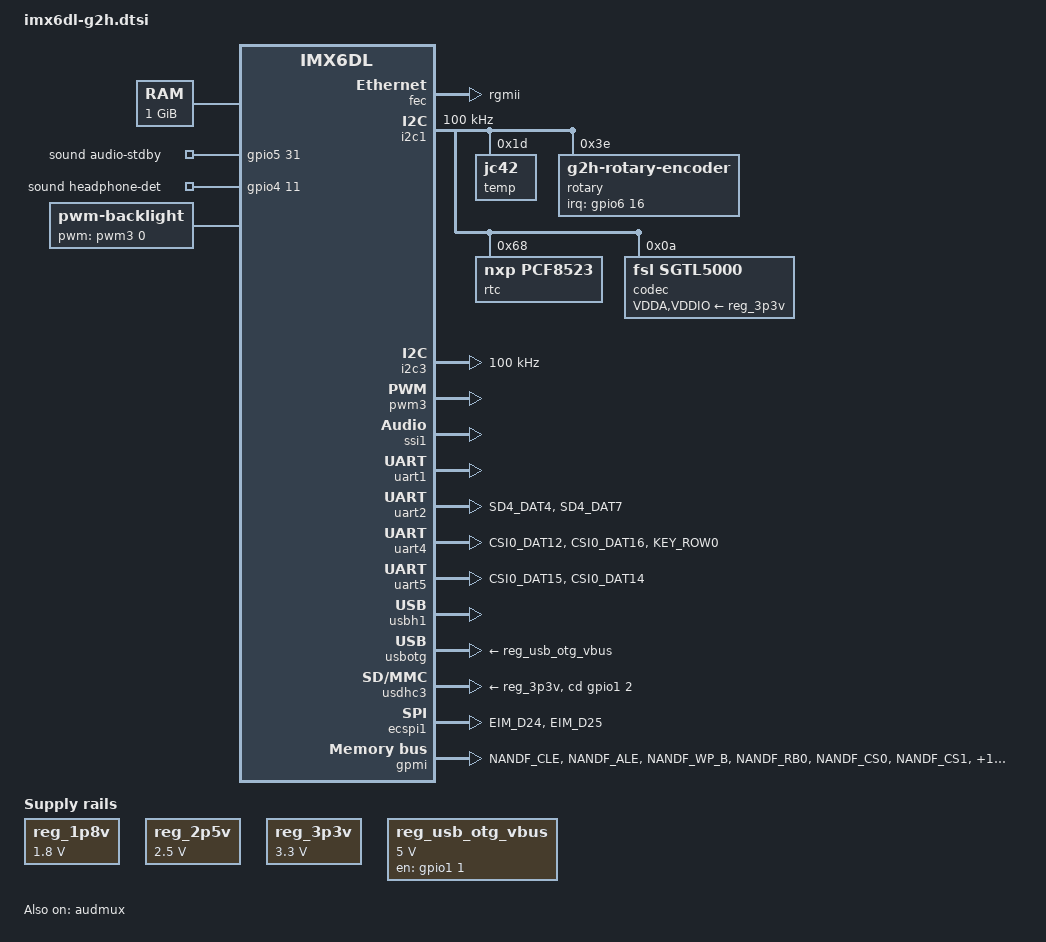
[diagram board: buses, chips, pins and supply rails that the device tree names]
/*
 * Copyright 2014 John Weber, Avnet Electronics Marketing
 * Copyright 2013 Boundary Devices
 * Copyright 2012 Freescale Semiconductor, Inc.
 * Copyright 2011 Linaro Ltd.
 *
 * The code contained herein is licensed under the GNU General Public
 * License. You may obtain a copy of the GNU General Public License
 * Version 2 or later at the following locations:
 *
 * http://www.opensource.org/licenses/gpl-license.html
 * http://www.gnu.org/copyleft/gpl.html
 */

/ {

	memory {
		reg = <0x10000000 0x40000000>;
	};

	regulators {
		compatible = "simple-bus";

		reg_1p8v: 1p8v {
			compatible = "regulator-fixed";
			regulator-name = "1P8V";
			regulator-min-microvolt = <1800000>;
			regulator-max-microvolt = <1800000>;
			regulator-always-on;
		};

		reg_2p5v: 2p5v {
			compatible = "regulator-fixed";
			regulator-name = "2P5V";
			regulator-min-microvolt = <2500000>;
			regulator-max-microvolt = <2500000>;
			regulator-always-on;
		};

		reg_3p3v: 3p3v {
			compatible = "regulator-fixed";
			regulator-name = "3P3V";
			regulator-min-microvolt = <3300000>;
			regulator-max-microvolt = <3300000>;
			regulator-always-on;
		};

		reg_usb_otg_vbus: usb_otg_vbus {
			compatible = "regulator-fixed";
			regulator-name = "usb_otg_vbus";
			regulator-min-microvolt = <5000000>;
			regulator-max-microvolt = <5000000>;
			gpio = <&gpio1 1 GPIO_ACTIVE_LOW>;
			enable-active-high;
		};
	};	

    sound: sound@0 {
		compatible = "fsl,imx6-hawthorne-sgtl5000", 
                             "fsl,imx-audio-sgtl5000";
		model = "imx6-hawthorne-sgtl5000";
		ssi-controller = <&ssi1>;
		audio-codec = <&codec>;
		audio-routing =
			"Headphone Jack", "HP_OUT";
		mux-int-port = <1>;
		mux-ext-port = <3>;
        audio-stdby-gpio = <&gpio5 31 0>;
        headphone-det-gpio = <&gpio4 11 0>;
	};

	backlight {
		compatible = "pwm-backlight";
		pwms = <&pwm3 0 5000000>;
		brightness-levels = <0 4 8 16 32 64 128 255>;
		default-brightness-level = <7>;
		status = "okay";
	};

    dipswitch: dipswitch@0 {
		compatible = "reach,dipswitch";
        dip-pin-1 = <&gpio1 20 1>;
        dip-pin-2 = <&gpio1 17 1>;
        dip-pin-3 = <&gpio1 19 1>;
        dip-pin-4 = <&gpio1 21 1>;
        status = "disabled";
    };

	v4l2_out {
		compatible = "fsl,mxc_v4l2_output";
		status = "okay";
	};

};


&audmux {
	pinctrl-names = "default";
	pinctrl-0 = <&pinctrl_audmux_2>;
	status = "okay";
};


&fec {
	pinctrl-names = "default";
	pinctrl-0 = <&pinctrl_enet_3>;
	phy-mode = "rgmii";
	status = "okay";
};

&i2c1 {
	clock-frequency = <100000>;
	pinctrl-names = "default";
	pinctrl-0 = <&pinctrl_i2c1_2>;
	status = "okay";

	temp@1d {
		compatible = "jc42";
		reg = <0x1D>;
		status = "okay";
	};

    /* rotary encoder connected to gpio expander */
    rotary: rotary@3e {
        compatible = "g2h-rotary-encoder";
        reg = <0x3E>;
		interrupt-parent = <&gpio6>;
       	interrupts = <16 0>;
        status = "okay";
    };

    pca953x@3e {
        compatible = "nxp,pca9534";
        #gpio-controller;
        reg = <0x3E>;
        status = "disabled";
    };

	evervision: touch@38 {
		compatible = "evervision";
		reg = <0x38>;
		interrupt-parent = <&gpio4>;
       	interrupts = <5 0>;
		status = "disabled";
        swap-x-y = <1>;
        max-x = <2047>;
        max-y = <2047>;
	};

	rtc: rtc@68 {
	    compatible = "nxp,pcf8523";
	    reg = <0x68>;
	    status = "okay";
	};

    codec: sgtl5000@0a {
		compatible = "fsl,sgtl5000";
		reg = <0x0a>;
		clocks = <&clks 201>;
		VDDA-supply = <&reg_3p3v>;
		VDDIO-supply = <&reg_3p3v>;
        status = "okay";
	};


};

&i2c3 {
	clock-frequency = <100000>;
	pinctrl-names = "default";
	pinctrl-0 = <&pinctrl_i2c3_3>;
	status = "okay";
};

/*
For reference here, the PAD_CTL bitfield definition from
Documentation/devicetree/bindings/pinctrl/fsl,imx6q-pinctrl.txt

CONFIG bits definition:
PAD_CTL_HYS                     (1 << 16)
PAD_CTL_PUS_100K_DOWN           (0 << 14)
PAD_CTL_PUS_47K_UP              (1 << 14)
PAD_CTL_PUS_100K_UP             (2 << 14)
PAD_CTL_PUS_22K_UP              (3 << 14)
PAD_CTL_PUE                     (1 << 13)
PAD_CTL_PKE                     (1 << 12)
PAD_CTL_ODE                     (1 << 11)
PAD_CTL_SPEED_LOW               (1 << 6)
PAD_CTL_SPEED_MED               (2 << 6)
PAD_CTL_SPEED_HIGH              (3 << 6)
PAD_CTL_DSE_DISABLE             (0 << 3)
PAD_CTL_DSE_240ohm              (1 << 3)
PAD_CTL_DSE_120ohm              (2 << 3)
PAD_CTL_DSE_80ohm               (3 << 3)
PAD_CTL_DSE_60ohm               (4 << 3)
PAD_CTL_DSE_48ohm               (5 << 3)
PAD_CTL_DSE_40ohm               (6 << 3)
PAD_CTL_DSE_34ohm               (7 << 3)
PAD_CTL_SRE_FAST                (1 << 0)
PAD_CTL_SRE_SLOW                (0 << 0)

Example, the Control Pad Setting

    0x0f0b0

corresponds to:

   0b1111 0000 1011 0000

which is:

   PAD_CTL_PUS_22K_UP | PAD_CTL_PUE | PAD_CTL_PKE |
   PAD_CTL_SPEED_MED | PAD_CTL_DSE_40ohm

For more information about this, refer to the IOMUXC section of the i.MX6
reference manual.

*/

&iomuxc {
	pinctrl-names = "default";
	pinctrl-0 = <&pinctrl_hog_1>;

	imx6sdl-hawthorne {
		pinctrl_hog_1: hoggrp-1 {
			fsl,pins = <
			    MX6QDL_PAD_GPIO_2__GPIO1_IO02       0x80000000	/* uSDHC3 CD */
				MX6QDL_PAD_GPIO_4__GPIO1_IO04       0x80000000	/* uSDHC2 CD */
                MX6QDL_PAD_GPIO_0__CCM_CLKO1        0x000b0     /* SGTL5000 */
			>;
		};

	};
	gpio {
		pinctrl_gpio: gpiogrp {
			fsl,pins = <
/*                MX6QDL_PAD_NANDF_CS3__GPIO6_IO16  0x070B0 */    /* PCA953x Int */
				MX6QDL_PAD_GPIO_19__GPIO4_IO05    0x80000000 /* PCAP Int */
				MX6QDL_PAD_SD3_RST__GPIO7_IO08    0x80000000 /* PCAP Reset */
				MX6QDL_PAD_EIM_D31__GPIO3_IO31	  0x80000000 /* USB Power Enable */
				MX6QDL_PAD_KEY_ROW4__GPIO4_IO15   0x80000000 /* OTG Power Enable */
                MX6QDL_PAD_GPIO_18__GPIO7_IO13    0x06000    /* PEN IRQ TSC2056 */
                MX6QDL_PAD_GPIO_19__GPIO4_IO05    0x80000000 /* PEN IRQ Evervision */  
                /* 4 position dip switch */
                MX6QDL_PAD_SD1_CLK__GPIO1_IO20    0x80000000    /* SW_OPT1 */ 
                MX6QDL_PAD_SD1_DAT1__GPIO1_IO17   0x80000000    /* SW_OPT2 */ 
                MX6QDL_PAD_SD1_DAT2__GPIO1_IO19   0x80000000    /* SW_OPT3 */ 
                MX6QDL_PAD_SD1_DAT3__GPIO1_IO21   0x80000000    /* SW_OPT4 */ 
                MX6QDL_PAD_CSI0_DAT13__GPIO5_IO31 0x80000000    /* Audio Standby */
                MX6QDL_PAD_KEY_ROW2__GPIO4_IO11   0x80000000    /* Headphone detect */
                MX6QDL_PAD_SD4_DAT0__GPIO2_IO08   0x130B0 /* LVDS0_EN */
				MX6QDL_PAD_SD4_DAT3__GPIO2_IO11   0x130B0 /* LCD PWR_EN */
			>;
		};
	};

    ipu {
        pinctrl_ipu1_5: ipu1grp-5 {
			fsl,pins = <
				MX6QDL_PAD_DI0_DISP_CLK__IPU1_DI0_DISP_CLK 0x10
				MX6QDL_PAD_DI0_PIN15__IPU1_DI0_PIN15       0x10
				MX6QDL_PAD_DI0_PIN2__IPU1_DI0_PIN02        0x10
				MX6QDL_PAD_DI0_PIN3__IPU1_DI0_PIN03        0x10
				//MX6QDL_PAD_DI0_PIN4__IPU1_DI0_PIN04        0x80000000
				MX6QDL_PAD_DISP0_DAT0__IPU1_DISP0_DATA00   0x10
				MX6QDL_PAD_DISP0_DAT1__IPU1_DISP0_DATA01   0x10
				MX6QDL_PAD_DISP0_DAT2__IPU1_DISP0_DATA02   0x10
				MX6QDL_PAD_DISP0_DAT3__IPU1_DISP0_DATA03   0x10
				MX6QDL_PAD_DISP0_DAT4__IPU1_DISP0_DATA04   0x10
				MX6QDL_PAD_DISP0_DAT5__IPU1_DISP0_DATA05   0x10
				MX6QDL_PAD_DISP0_DAT6__IPU1_DISP0_DATA06   0x10
				MX6QDL_PAD_DISP0_DAT7__IPU1_DISP0_DATA07   0x10
				MX6QDL_PAD_DISP0_DAT8__IPU1_DISP0_DATA08   0x10
				MX6QDL_PAD_DISP0_DAT9__IPU1_DISP0_DATA09   0x10
				MX6QDL_PAD_DISP0_DAT10__IPU1_DISP0_DATA10  0x10
				MX6QDL_PAD_DISP0_DAT11__IPU1_DISP0_DATA11  0x10
				MX6QDL_PAD_DISP0_DAT12__IPU1_DISP0_DATA12  0x10
				MX6QDL_PAD_DISP0_DAT13__IPU1_DISP0_DATA13  0x10
				MX6QDL_PAD_DISP0_DAT14__IPU1_DISP0_DATA14  0x10
				MX6QDL_PAD_DISP0_DAT15__IPU1_DISP0_DATA15  0x10
				MX6QDL_PAD_DISP0_DAT16__IPU1_DISP0_DATA16  0x10
				MX6QDL_PAD_DISP0_DAT17__IPU1_DISP0_DATA17  0x10
			>;
	    }; 
    };

    gpmi-nand {
		pinctrl_gpmi_nand_2: gpmi-nand-2 {
			fsl,pins = <
				MX6QDL_PAD_NANDF_CLE__NAND_CLE     0xb0b1
				MX6QDL_PAD_NANDF_ALE__NAND_ALE     0xb0b1
				MX6QDL_PAD_NANDF_WP_B__NAND_WP_B   0xb0b1
				MX6QDL_PAD_NANDF_RB0__NAND_READY_B 0xb000
				MX6QDL_PAD_NANDF_CS0__NAND_CE0_B   0xb0b1
				MX6QDL_PAD_NANDF_CS1__NAND_CE1_B   0xb0b1
				MX6QDL_PAD_SD4_CMD__NAND_RE_B      0xb0b1
				MX6QDL_PAD_SD4_CLK__NAND_WE_B      0xb0b1
				MX6QDL_PAD_NANDF_D0__NAND_DATA00   0xb0b1
				MX6QDL_PAD_NANDF_D1__NAND_DATA01   0xb0b1
				MX6QDL_PAD_NANDF_D2__NAND_DATA02   0xb0b1
				MX6QDL_PAD_NANDF_D3__NAND_DATA03   0xb0b1
				MX6QDL_PAD_NANDF_D4__NAND_DATA04   0xb0b1
				MX6QDL_PAD_NANDF_D5__NAND_DATA05   0xb0b1
				MX6QDL_PAD_NANDF_D6__NAND_DATA06   0xb0b1
				MX6QDL_PAD_NANDF_D7__NAND_DATA07   0xb0b1
			>;
		};
	};

	ecspi1 {
		pinctrl_ecspi1_cs_1: ecspi1_cs_grp-1 {
			fsl,pins = <
				MX6QDL_PAD_EIM_D24__GPIO3_IO24 0x80000000
				MX6QDL_PAD_EIM_D25__GPIO3_IO25 0x80000000
			>;
		};
	};

	uart2 {
		pinctrl_uart2_3: uart2grp-3 {
			fsl,pins = <
				MX6QDL_PAD_SD4_DAT4__UART2_RX_DATA   0x1b0b1
				MX6QDL_PAD_SD4_DAT7__UART2_TX_DATA   0x1b0b1
			>;
		};
	};

    uart4 {
		pinctrl_uart4_2: uart4grp-2 {
			fsl,pins = <
                MX6QDL_PAD_CSI0_DAT12__UART4_TX_DATA 0x1b0b1
                MX6QDL_PAD_CSI0_DAT16__UART4_RTS_B 0x1b0b1
                MX6QDL_PAD_KEY_ROW0__UART4_RX_DATA 0x1b0b1
			>;
		};
	};

	uart5 {
		pinctrl_uart5_1: uart5grp-1 {
			fsl,pins = <
				MX6QDL_PAD_CSI0_DAT15__UART5_RX_DATA 0x1b0b1
				MX6QDL_PAD_CSI0_DAT14__UART5_TX_DATA 0x1b0b1
			>;
		};
	};

	flexcan1 {
		pinctrl_flexcan1_3: flexcan1grp-3 {
			fsl,pins = <
				MX6QDL_PAD_GPIO_8__FLEXCAN1_RX 0x80000000
				MX6QDL_PAD_GPIO_7__FLEXCAN1_TX 0x80000000
			>;
		};
	};


	usbotg {
		pinctrl_usbotg_3: usbotggrp-3 {
			fsl,pins = <
                MX6QDL_PAD_GPIO_1__GPIO1_IO01 0x80000000
			>;
		};
	};


};

&audmux {
	pinctrl-names = "default";
	pinctrl-0 = <&pinctrl_audmux_2>;
	status = "okay";
};

&pwm3 {
	pinctrl-names = "default";
	pinctrl-0 = <&pinctrl_pwm3_1>;
	status = "okay";
};

&ssi1 {
	fsl,mode = "i2s-slave";
	status = "okay";
};

&uart1 {
	pinctrl-names = "default";
	pinctrl-0 = <&pinctrl_uart1_1>;
	status = "okay";
};

&uart2 {
	pinctrl-names = "default";
	pinctrl-0 = <&pinctrl_uart2_3>;
	status = "okay";
};

&uart4 {
	pinctrl-names = "default";
	pinctrl-0 = <&pinctrl_uart4_2>;
	status = "okay";
};

&uart5 {
	pinctrl-names = "default";
	pinctrl-0 = <&pinctrl_uart5_1>;
	status = "okay";
};

&usbh1 {
	status = "okay";
	en_gpio = <&gpio3 31 1>;
};

&usbotg {
	vbus-supply = <&reg_usb_otg_vbus>;
	pinctrl-names = "default";
	pinctrl-0 = <&pinctrl_usbotg_1>;
	disable-over-current;
	en_gpio = <&gpio4 15 1>;
	status = "okay";
};

&usdhc3 { /* Push-pull microSD slot */
	pinctrl-names = "default";
	pinctrl-0 = <&pinctrl_usdhc3_2>;
	vmmc-supply = <&reg_3p3v>;
    cd-gpios = <&gpio1 2 0>;
	status = "okay";
};

&usdhc2 { /* Captive microSD slot */
	pinctrl-names = "default";
	pinctrl-0 = <&pinctrl_usdhc2_2>;
	vmmc-supply = <&reg_3p3v>;
   	cd-gpios = <&gpio1 4 0>;
	status = "disabled";
};

&ecspi1 {
	fsl,spi-num-chipselects = <4>;
	cs-gpios = <0>, <0>, <&gpio3 24 0>, <&gpio3 25 0> ;
	pinctrl-names = "default";
	pinctrl-0 = <&pinctrl_ecspi1_1 &pinctrl_ecspi1_cs_1>;
	status = "okay";

	spiflash: nor@2 {
		#address-cells = <1>;
		#size-cells = <1>;
		compatible = "n25q128a13";
		spi-max-frequency = <20000000>;
		reg = <2>;
        status = "disabled";

		mtd0@00000000 {
			label = "boot";
			reg = <0x00000000 0x00080000>;
		};

		mtd1@00080000 {
			label = "bootenv";
			reg = <0x00080000 0x00020000>;
		};

		mtd2@000A0000 {
			label = "genenv";
			reg = <0x000A0000 0x00040000>;
		};

		mtd3@000E0000 {
			label = "kernel";
			reg = <0x000E0000 0x00F20000>;
		};
	};

    tsc2046: touch@3 {
        compatible = "ti,tsc2046";
        reg = <3>;
        spi-max-frequency = <1000000>;
        interrupt-parent = <&gpio7>;
        interrupts = <13 0>;
        pendown-gpio = <&gpio7 13 0>;
        vcc-supply = <&reg_3p3v>;

        //ti,x-min = /bits/ 16 <150>;
        //ti,x-max = /bits/ 16 <3830>;
        //ti,y-min = /bits/ 16 <190>;
        //ti,y-max = /bits/ 16 <3830>;
        ti,settle-delay-usec = /bits/ 16 <100>; 
        ti,vref-delay-usecs = /bits/ 16 <450>;
        ti,keep-vref-on = /bits/ 16 <1>;
        ti,x-plate-ohms = /bits/ 16 <450>;
        ti,y-plate-ohms = /bits/ 16 <250>;
        ti,pressure-max = /bits/ 16 <255>;

        ti,debounce-rep = /bits/ 16 <4>;
        ti,debounce-tol = /bits/ 16 <10>;
        ti,debounce-max = /bits/ 16 <10>;

        linux,wakeup;
	    status = "disabled";
    };
};

&gpmi {
	pinctrl-names = "default";
	pinctrl-0 = <&pinctrl_gpmi_nand_2>;
	status = "ok";
	
	partition@0 {
		label = "rootfs";
		reg = <0x0000000 0x18000000>;
	};
	partition@1 {
		label = "appfs";
		reg = <0x18000000 0x8000000>;
	};
};

&flexcan1 {
	pinctrl-names = "default";
	pinctrl-0 = <&pinctrl_flexcan1_3>;
	status = "disabled";
};
